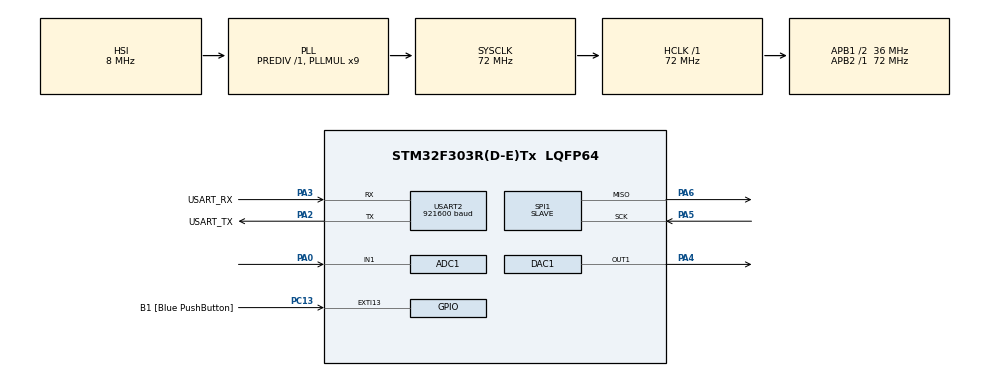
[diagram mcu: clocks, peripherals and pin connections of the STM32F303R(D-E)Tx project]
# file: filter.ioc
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ADC1.Channel-0\#ChannelRegularConversion=ADC_CHANNEL_1
ADC1.ClockPrescaler=ADC_CLOCK_SYNC_PCLK_DIV4
ADC1.ContinuousConvMode=ENABLE
ADC1.NbrOfConversionFlag=1
ADC1.Offset-0\#ChannelRegularConversion=0
ADC1.OffsetNumber-0\#ChannelRegularConversion=ADC_OFFSET_NONE
ADC1.Rank-0\#ChannelRegularConversion=1
ADC1.SamplingTime-0\#ChannelRegularConversion=ADC_SAMPLETIME_1CYCLE_5
ADC1.SamplingTimeOPAMP-0\#ChannelRegularConversion=ADC_SAMPLETIME_61CYCLES_5
ADC1.master=1
Mcu.Family=STM32F3
Mcu.Name=STM32F303R(D-E)Tx
Mcu.Package=LQFP64
NVIC.PriorityGroup=NVIC_PRIORITYGROUP_0
PA0.Mode=IN1-Single-Ended
PA0.Signal=ADC1_IN1
PA13.GPIO_Label=TMS
PA13.Mode=Serial_Wire
PA13.Signal=SYS_JTMS-SWDIO
PA14.GPIO_Label=TCK
PA14.Mode=Serial_Wire
PA14.Signal=SYS_JTCK-SWCLK
PA2.GPIO_Label=USART_TX
PA2.GPIO_Mode=GPIO_MODE_AF_PP
PA2.GPIO_PuPd=GPIO_NOPULL
PA2.GPIO_Speed=GPIO_SPEED_FREQ_LOW
PA2.Mode=Asynchronous
PA2.Signal=USART2_TX
PA3.GPIO_Label=USART_RX
PA3.GPIO_Mode=GPIO_MODE_AF_PP
PA3.GPIO_PuPd=GPIO_NOPULL
PA3.GPIO_Speed=GPIO_SPEED_FREQ_LOW
PA3.Mode=Asynchronous
PA3.Signal=USART2_RX
PA4.Signal=COMP_DAC11_group
PA5.Mode=TX_Only_Simplex_Unidirect_Slave
PA5.Signal=SPI1_SCK
PA6.Mode=TX_Only_Simplex_Unidirect_Slave
PA6.Signal=SPI1_MISO
PB3.GPIO_Label=SWO
PB3.Signal=SYS_JTDO-TRACESWO
PC13.GPIO_Label=B1 [Blue PushButton]
PC13.GPIO_ModeDefaultEXTI=GPIO_MODE_IT_FALLING
PC13.Signal=GPXTI13
PC14-OSC32_IN.Mode=LSE-External-Oscillator
PC14-OSC32_IN.Signal=RCC_OSC32_IN
PC15-OSC32_OUT.Mode=LSE-External-Oscillator
PC15-OSC32_OUT.Signal=RCC_OSC32_OUT
PF0-OSC_IN.Mode=HSE-External-Clock-Source
PF0-OSC_IN.Signal=RCC_OSC_IN
PF1-OSC_OUT.Signal=RCC_OSC_OUT
ProjectManager.HeapSize=0x200
ProjectManager.StackSize=0x400
ProjectManager.TargetToolchain=STM32CubeIDE
RCC.AHBFreq_Value=72000000
RCC.APB1CLKDivider=RCC_HCLK_DIV2
RCC.APB1Freq_Value=36000000
RCC.APB1TimFreq_Value=72000000
RCC.APB2Freq_Value=72000000
RCC.APB2TimFreq_Value=72000000
RCC.CortexFreq_Value=72000000
RCC.HCLKFreq_Value=72000000
RCC.HSE_VALUE=8000000
RCC.HSI_VALUE=8000000
RCC.PLLM=8
RCC.PLLMUL=RCC_PLL_MUL9
RCC.PLLN=336
RCC.PLLP=RCC_PLLP_DIV4
RCC.PLLQ=7
RCC.RCC_PLLsource_Clock_Source_FROM_HSE=RCC_HSE_PREDIV_DIV2
RCC.SYSCLKFreq_VALUE=72000000
RCC.SYSCLKSourceVirtual=RCC_SYSCLKSOURCE_PLLCLK
RCC.USBFreq_Value=72000000
SH.COMP_DAC11_group.0=DAC1_OUT1,DAC_OUT1
SPI1.DataSize=SPI_DATASIZE_16BIT
SPI1.Direction=SPI_DIRECTION_2LINES
SPI1.Mode=SPI_MODE_SLAVE
SPI1.VirtualType=VM_SLAVE
USART2.BaudRate=921600
USART2.VirtualMode-Asynchronous=VM_ASYNC
board=NUCLEO-F303RE

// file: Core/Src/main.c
/* USER CODE BEGIN Header */
/**
  ******************************************************************************
  * @file           : main.c
  * @brief          : Main program body
  ******************************************************************************
  * @attention
  *
  * Copyright (c) 2024 STMicroelectronics.
  * All rights reserved.
  *
  * This software is licensed under terms that can be found in the LICENSE file
  * in the root directory of this software component.
  * If no LICENSE file comes with this software, it is provided AS-IS.
  *
  ******************************************************************************
  */
/* USER CODE END Header */
#include "main.h"

/* USER CODE BEGIN Includes */
#include <string.h>
#include <stdio.h>
#include <stdlib.h>
#include "arm_math.h"
/* USER CODE END Includes */

/* USER CODE BEGIN PTD */
#define FILTER_ORDER 1
/* USER CODE END PTD */

/* USER CODE BEGIN PD */
char msg[12];

// filter ( coefficients)
float b_lp[] = {0.11633651, 0.11633651};  // Numerator coefficients
float a_lp[] = {1, -0.76732699};    // Denominator coefficients

float b_hp[] = {0.51132487, -0.21132487};  // Numerator coefficients
float a_hp[] = {1, 0.57735027};			// Denominator coefficients

float b_bs[] = {0.99395984, -3.96574576, 5.94359747, -3.96574576, 0.99395984};  // coefficients for band-stop filter
float a_bs[] = {1.0, -3.97775903, 5.94356099, -3.9537325, 0.98795616};  // coefficients for band-stop filter

// Buffer to hold previous samples (order of filter)
float x_lp[FILTER_ORDER + 1] = {0};  // Input buffer
float y_lp[FILTER_ORDER + 1] = {0};  // Output buffer

// Buffer for the high-pass filter (order of filter)
float x_hp[FILTER_ORDER + 1] = {0};  // Input buffer
float y_hp[FILTER_ORDER + 1] = {0};  // Output buffer

// Buffer for the band-stop filter
float x_bs[FILTER_ORDER + 1] = {0};  // Input buffer
float y_bs[FILTER_ORDER + 1] = {0};  // Output buffer

/* USER CODE END PD */

ADC_HandleTypeDef hadc1;

DAC_HandleTypeDef hdac1;

SPI_HandleTypeDef hspi1;

UART_HandleTypeDef huart2;

void SystemClock_Config(void);
static void MX_GPIO_Init(void);
static void MX_USART2_UART_Init(void);
static void MX_ADC1_Init(void);
static void MX_DAC1_Init(void);
static void MX_SPI1_Init(void);
/* USER CODE BEGIN PFP */
float low_pass_filter(float x0);
float high_pass_filter(float x0);
/* USER CODE END PFP */

/* USER CODE BEGIN 0 */
// Start ADC Conversion
/* USER CODE END 0 */

int main(void)
{

  /* MCU Configuration--------------------------------------------------------*/

  /* Reset of all peripherals, Initializes the Flash interface and the Systick. */
  HAL_Init();

  /* Configure the system clock */
  SystemClock_Config();

  /* Initialize all configured peripherals */
  MX_GPIO_Init();
  MX_USART2_UART_Init();
  MX_ADC1_Init();
  MX_DAC1_Init();
  MX_SPI1_Init();
  /* USER CODE BEGIN 2 */
  HAL_ADC_Start(&hadc1);
  HAL_DAC_Start(&hdac1, DAC_CHANNEL_1);

  // Create an array of bytes to hold the 16-bit adc_value
//      uint8_t data[2];

  /* USER CODE END 2 */

  /* Infinite loop */
  while (1)
  {

    /* USER CODE BEGIN 3 */

	  HAL_ADC_PollForConversion(&hadc1, HAL_MAX_DELAY);
	  // Get ADC value
	  uint16_t adc_value = HAL_ADC_GetValue(&hadc1);

	  // Scale it to a floating point value (adjust the scaling if needed)
	  float x0 = (float)adc_value;  // Example scaling for 12-bit ADC

	  // Apply high-pass filter to the low-pass output
	  float high_pass_output = high_pass_filter(x0) + 550;

	  // Apply low-pass filter to the input
//	  float low_pass_output = low_pass_filter(high_pass_output);
//
//	  float band_stop = (low_pass_output - high_pass_output);

	  // Write ADC value to DAC
	  HAL_DAC_SetValue(&hdac1, DAC_CHANNEL_1, DAC_ALIGN_12B_R, high_pass_output);

//	  // Send ADC value over UART
//	  snprintf(msg, sizeof(msg), " %0.1f \r\n", x0);
//	  HAL_UART_Transmit(&huart2, (uint8_t*)msg, strlen(msg), HAL_MAX_DELAY);

  }
  /* USER CODE END 3 */
}

void SystemClock_Config(void)
{
  RCC_OscInitTypeDef RCC_OscInitStruct = {0};
  RCC_ClkInitTypeDef RCC_ClkInitStruct = {0};
  RCC_PeriphCLKInitTypeDef PeriphClkInit = {0};

  /** Initializes the RCC Oscillators according to the specified parameters
  * in the RCC_OscInitTypeDef structure.
  */
  RCC_OscInitStruct.OscillatorType = RCC_OSCILLATORTYPE_HSI;
  RCC_OscInitStruct.HSIState = RCC_HSI_ON;
  RCC_OscInitStruct.HSICalibrationValue = RCC_HSICALIBRATION_DEFAULT;
  RCC_OscInitStruct.PLL.PLLState = RCC_PLL_ON;
  RCC_OscInitStruct.PLL.PLLSource = RCC_PLLSOURCE_HSI;
  RCC_OscInitStruct.PLL.PLLMUL = RCC_PLL_MUL9;
  RCC_OscInitStruct.PLL.PREDIV = RCC_PREDIV_DIV1;
  if (HAL_RCC_OscConfig(&RCC_OscInitStruct) != HAL_OK)
  {
    Error_Handler();
  }

  /** Initializes the CPU, AHB and APB buses clocks
  */
  RCC_ClkInitStruct.ClockType = RCC_CLOCKTYPE_HCLK|RCC_CLOCKTYPE_SYSCLK
                              |RCC_CLOCKTYPE_PCLK1|RCC_CLOCKTYPE_PCLK2;
  RCC_ClkInitStruct.SYSCLKSource = RCC_SYSCLKSOURCE_PLLCLK;
  RCC_ClkInitStruct.AHBCLKDivider = RCC_SYSCLK_DIV1;
  RCC_ClkInitStruct.APB1CLKDivider = RCC_HCLK_DIV2;
  RCC_ClkInitStruct.APB2CLKDivider = RCC_HCLK_DIV1;

  if (HAL_RCC_ClockConfig(&RCC_ClkInitStruct, FLASH_LATENCY_2) != HAL_OK)
  {
    Error_Handler();
  }
  PeriphClkInit.PeriphClockSelection = RCC_PERIPHCLK_USART2;
  PeriphClkInit.Usart2ClockSelection = RCC_USART2CLKSOURCE_PCLK1;
  if (HAL_RCCEx_PeriphCLKConfig(&PeriphClkInit) != HAL_OK)
  {
    Error_Handler();
  }
}

static void MX_ADC1_Init(void)
{

  ADC_MultiModeTypeDef multimode = {0};
  ADC_ChannelConfTypeDef sConfig = {0};

  /** Common config
  */
  hadc1.Instance = ADC1;
  hadc1.Init.ClockPrescaler = ADC_CLOCK_SYNC_PCLK_DIV4;
  hadc1.Init.Resolution = ADC_RESOLUTION_12B;
  hadc1.Init.ScanConvMode = ADC_SCAN_DISABLE;
  hadc1.Init.ContinuousConvMode = ENABLE;
  hadc1.Init.DiscontinuousConvMode = DISABLE;
  hadc1.Init.ExternalTrigConvEdge = ADC_EXTERNALTRIGCONVEDGE_NONE;
  hadc1.Init.ExternalTrigConv = ADC_SOFTWARE_START;
  hadc1.Init.DataAlign = ADC_DATAALIGN_RIGHT;
  hadc1.Init.NbrOfConversion = 1;
  hadc1.Init.DMAContinuousRequests = DISABLE;
  hadc1.Init.EOCSelection = ADC_EOC_SINGLE_CONV;
  hadc1.Init.LowPowerAutoWait = DISABLE;
  hadc1.Init.Overrun = ADC_OVR_DATA_OVERWRITTEN;
  if (HAL_ADC_Init(&hadc1) != HAL_OK)
  {
    Error_Handler();
  }

  /** Configure the ADC multi-mode
  */
  multimode.Mode = ADC_MODE_INDEPENDENT;
  if (HAL_ADCEx_MultiModeConfigChannel(&hadc1, &multimode) != HAL_OK)
  {
    Error_Handler();
  }

  /** Configure Regular Channel
  */
  sConfig.Channel = ADC_CHANNEL_1;
  sConfig.Rank = ADC_REGULAR_RANK_1;
  sConfig.SingleDiff = ADC_SINGLE_ENDED;
  sConfig.SamplingTime = ADC_SAMPLETIME_1CYCLE_5;
  sConfig.OffsetNumber = ADC_OFFSET_NONE;
  sConfig.Offset = 0;
  if (HAL_ADC_ConfigChannel(&hadc1, &sConfig) != HAL_OK)
  {
    Error_Handler();
  }

}

static void MX_DAC1_Init(void)
{

  DAC_ChannelConfTypeDef sConfig = {0};

  /** DAC Initialization
  */
  hdac1.Instance = DAC1;
  if (HAL_DAC_Init(&hdac1) != HAL_OK)
  {
    Error_Handler();
  }

  /** DAC channel OUT1 config
  */
  sConfig.DAC_Trigger = DAC_TRIGGER_NONE;
  sConfig.DAC_OutputBuffer = DAC_OUTPUTBUFFER_ENABLE;
  if (HAL_DAC_ConfigChannel(&hdac1, &sConfig, DAC_CHANNEL_1) != HAL_OK)
  {
    Error_Handler();
  }

}

static void MX_SPI1_Init(void)
{

  /* SPI1 parameter configuration*/
  hspi1.Instance = SPI1;
  hspi1.Init.Mode = SPI_MODE_SLAVE;
  hspi1.Init.Direction = SPI_DIRECTION_2LINES;
  hspi1.Init.DataSize = SPI_DATASIZE_16BIT;
  hspi1.Init.CLKPolarity = SPI_POLARITY_LOW;
  hspi1.Init.CLKPhase = SPI_PHASE_1EDGE;
  hspi1.Init.NSS = SPI_NSS_SOFT;
  hspi1.Init.FirstBit = SPI_FIRSTBIT_MSB;
  hspi1.Init.TIMode = SPI_TIMODE_DISABLE;
  hspi1.Init.CRCCalculation = SPI_CRCCALCULATION_DISABLE;
  hspi1.Init.CRCPolynomial = 7;
  hspi1.Init.CRCLength = SPI_CRC_LENGTH_DATASIZE;
  hspi1.Init.NSSPMode = SPI_NSS_PULSE_DISABLE;
  if (HAL_SPI_Init(&hspi1) != HAL_OK)
  {
    Error_Handler();
  }

}

static void MX_USART2_UART_Init(void)
{

  huart2.Instance = USART2;
  huart2.Init.BaudRate = 921600;
  huart2.Init.WordLength = UART_WORDLENGTH_8B;
  huart2.Init.StopBits = UART_STOPBITS_1;
  huart2.Init.Parity = UART_PARITY_NONE;
  huart2.Init.Mode = UART_MODE_TX_RX;
  huart2.Init.HwFlowCtl = UART_HWCONTROL_NONE;
  huart2.Init.OverSampling = UART_OVERSAMPLING_16;
  huart2.Init.OneBitSampling = UART_ONE_BIT_SAMPLE_DISABLE;
  huart2.AdvancedInit.AdvFeatureInit = UART_ADVFEATURE_NO_INIT;
  if (HAL_UART_Init(&huart2) != HAL_OK)
  {
    Error_Handler();
  }

}

static void MX_GPIO_Init(void)
{
  GPIO_InitTypeDef GPIO_InitStruct = {0};

  /* GPIO Ports Clock Enable */
  __HAL_RCC_GPIOC_CLK_ENABLE();
  __HAL_RCC_GPIOF_CLK_ENABLE();
  __HAL_RCC_GPIOA_CLK_ENABLE();
  __HAL_RCC_GPIOB_CLK_ENABLE();

  /*Configure GPIO pin : B1_Pin */
  GPIO_InitStruct.Pin = B1_Pin;
  GPIO_InitStruct.Mode = GPIO_MODE_IT_FALLING;
  GPIO_InitStruct.Pull = GPIO_NOPULL;
  HAL_GPIO_Init(B1_GPIO_Port, &GPIO_InitStruct);

}

/* USER CODE BEGIN 4 */
// Function to apply the filter to the ADC data
float low_pass_filter(float x0) {
    // Shift old samples in the buffer
    for (int i = FILTER_ORDER; i > 0; i--) {
        x_lp[i] = x_lp[i - 1];
        y_lp[i] = y_lp[i - 1];
    }

    // Add the new sample to the buffer
    x_lp[0] = x0;

    // Apply the difference equation (numerator and denominator)
    y_lp[0] = b_lp[0] * x_lp[0];
    for (int i = 1; i < FILTER_ORDER + 1; i++) {
        y_lp[0] += b_lp[i] * x_lp[i];
        y_lp[0] -= a_lp[i] * y_lp[i];
    }

    return y_lp[0];  // Return filtered output
}

// High-pass filter function
float high_pass_filter(float x0) {
    // Shift old samples in the buffer
    for (int i = FILTER_ORDER; i > 0; i--) {
        x_hp[i] = x_hp[i - 1];
        y_hp[i] = y_hp[i - 1];
    }

    // Add new input sample to the buffer
    x_hp[0] = x0;

    // Apply the difference equation (numerator and denominator)
    y_hp[0] = b_hp[0] * x_hp[0];
    for (int i = 1; i < FILTER_ORDER + 1; i++) {
        y_hp[0] += b_hp[i] * x_hp[i];
        y_hp[0] -= a_hp[i] * y_hp[i];
    }

    return y_hp[0];  // Return filtered output
}

/* USER CODE END 4 */

void Error_Handler(void)
{
  __disable_irq();
  while (1)
  {
  }
}
